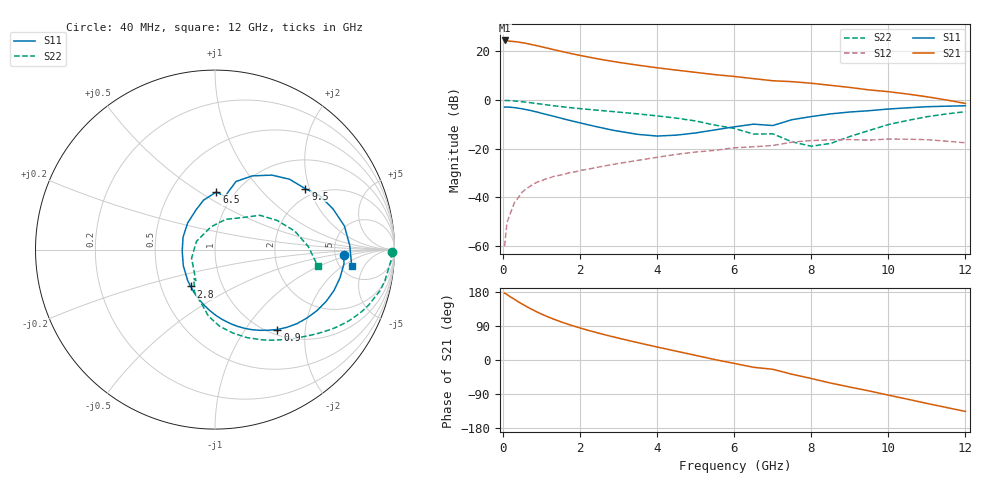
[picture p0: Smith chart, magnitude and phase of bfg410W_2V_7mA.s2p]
! Filename: 27bfg410.001
! BFG410W Field B1
! V1=8.670E-001V,V2=2.000E+000V, I1=1.060E-004A, I2=7.010E-003A
# GHz  S  MA  R 50
!  S11  S21  S12  S22
!Freq(GHz)  Mag  Ang  Mag  Ang  Mag  Ang  Mag  Ang
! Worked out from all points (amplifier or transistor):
!   44 points, 40 MHz to 12 GHz, reference 50 ohm
!   highest |S21| = 24.5 dB at 40 MHz (marker M1)
!   |S21| within 3 dB of that: start of sweep to 1.109 GHz
!   unconditionally stable (mu >= 1): 2.187 GHz to end of sweep
!   at 700 MHz: K = 0.42, MSG = 29.2 dB, |S12| = -35.4 dB
!   at 2.4 GHz: K = 1.05, MAG = 21.1 dB, |S12| = -27.7 dB
!   at 12 GHz: K = 1.54, MAG = 3.8 dB, |S12| = -17.5 dB
!   S11 on the Smith chart (normalised r, x): 40 MHz: 5.98, -0.81; 900 MHz: 1.09, -1.43; 2.8 GHz: 0.71, -0.31; 6.5 GHz: 0.82, +0.59; 9.5 GHz: 1.75, +1.88; 12 GHz: 6.35, -2.77
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0.04  0.718 -2.6  16.84 176.6  0.001 70.2  0.984 -0.8
0.1  0.723 -6.3  16.56 173.0  0.003 86.4  0.984 -3.1
0.2  0.714 -12.7  16.21 166.0  0.005 82.2  0.97 -7.2
0.3  0.701 -19.0  15.96 159.9  0.008 79.3  0.962 -10.5
0.4  0.683 -25.0  15.6 153.3  0.01 75.7  0.947 -14.1
0.5  0.662 -30.9  15.15 147.4  0.013 72.4  0.927 -17.0
0.6  0.639 -36.6  14.66 141.6  0.015 69.7  0.91 -19.9
0.7  0.616 -42.0  14.09 136.1  0.017 66.8  0.888 -22.8
0.9  0.565 -52.0  13.04 125.8  0.021 62.8  0.847 -27.8
1.2  0.491 -65.3  11.46 112.4  0.025 58.0  0.788 -34.1
1.5  0.427 -77.1  10.1 100.8  0.029 54.6  0.737 -39.4
1.8  0.372 -88.0  8.949 90.6  0.033 52.1  0.694 -44.2
2.2  0.313 -101.8  7.72 78.6  0.038 49.5  0.647 -50.3
2.8  0.246 -123.5  6.344 62.6  0.047 45.5  0.587 -59.2
3.5  0.198 -153.1  5.225 45.7  0.058 39.7  0.522 -70.0
4.5  0.191 158.7  4.14 23.2  0.077 28.6  0.427 -86.7
5.5  0.245 115.7  3.344 1.0  0.093 14.0  0.307 -104.7
6.5  0.321 88.7  2.767 -19.2  0.11 0.5  0.201 -125.9
8.5  0.522 52.7  2.016 -60.9  0.153 -32.9  0.129 99.8
9.5  0.607 34.0  1.624 -81.6  0.151 -52.6  0.238 48.7
10.5  0.696 18.9  1.335 -103.4  0.158 -73.1  0.383 25.1
12  0.767 -6.7  0.856 -135.7  0.133 -111.0  0.58 -9.1
